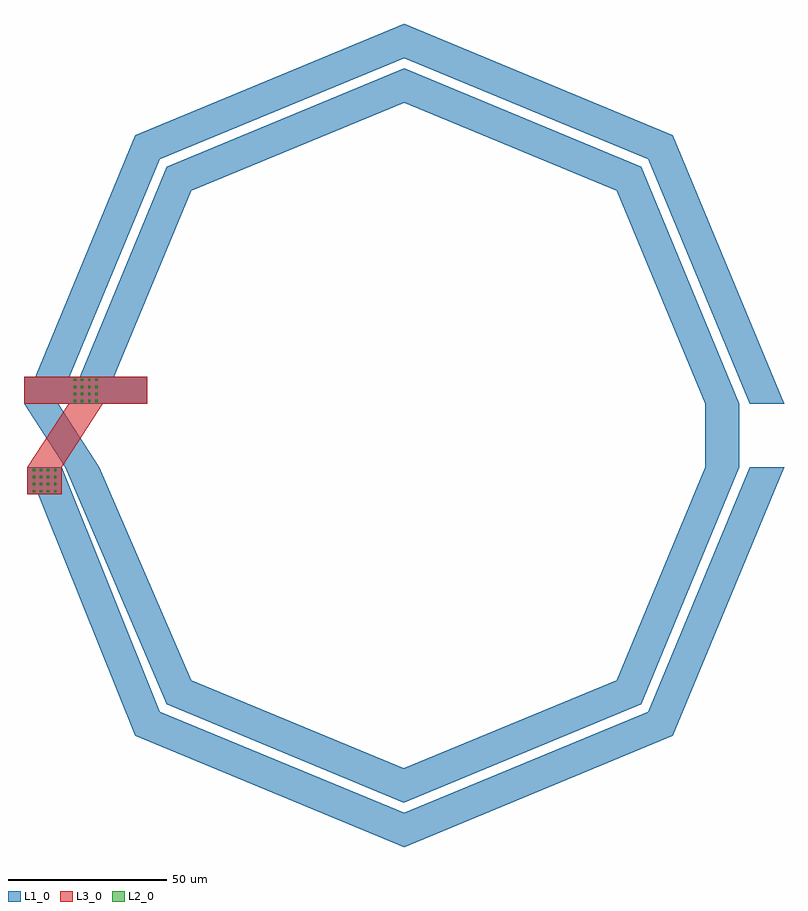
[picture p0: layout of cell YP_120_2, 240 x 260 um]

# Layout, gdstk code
import gdstk
lib = gdstk.Library(unit=1e-6, precision=1e-09)
def R(c, l, rs):  # rectangles x0, y0, x1, y1
    for r in rs: c.add(gdstk.rectangle(r[:2], r[2:], *l))
def A(c, l, x, y, w, h, nx, ny, dx, dy):  # array of equal rectangles
    R(c, l, [(x+i*dx, y+j*dy, x+i*dx+w, y+j*dy+h) for i in range(nx) for j in range(ny)])
def P(c, l, *ps):  # polygons
    for p in ps: c.add(gdstk.Polygon(p, *l))
L1_0 = (1, 0)
L2_0 = (2, 0)
L3_0 = (3, 0)

yp_120_2 = lib.new_cell('YP_120_2')
R(yp_120_2, L1_0, [(81.07,181.5,91.89,190), (295.1,189.99,305.92,209.99), (80,210,118.96,218.5)])
P(yp_120_2, L1_0, [(309.17,210),(277.19,287.19),(284.85,294.85),(320,210)],
  [(277.19,287.19),(200,319.17),(200,330),(284.85,294.85)],
  [(122.8,287.19),(115.14,294.85),(200,330),(200,319.17)],
  [(80,210),(115.14,294.85),(122.8,287.19),(90.82,210)],
  [(93,190),(80,210),(90.82,210),(103.82,190)],
  [(125.09,115.09),(93,190),(103.82,190),(132.75,122.75)],
  [(199.99,84.07),(125.09,115.09),(132.75,122.75),(199.99,94.89)],
  [(199.99,84.07),(199.99,94.89),(267.24,122.75),(274.9,115.09)],
  [(274.9,115.09),(267.24,122.75),(295.1,189.99),(305.92,189.99)],
  [(295.1,209.99),(267.24,277.24),(274.9,284.9),(305.92,209.99)],
  [(267.24,277.24),(200,305.1),(200,315.92),(274.9,284.9)],
  [(132.75,277.24),(125.09,284.9),(200,315.92),(200,305.1)],
  [(94.07,210),(125.09,284.9),(132.75,277.24),(104.89,210)],
  [(115.14,105.14),(81.07,190),(91.89,190),(122.8,112.8)],
  [(200,70),(115.14,105.14),(122.8,112.8),(200,80.82)],
  [(200,70),(200,80.82),(277.19,112.8),(284.85,105.14)],
  [(284.85,105.14),(277.19,112.8),(309.17,190),(320,190)])
A(yp_120_2, L2_0, 82.73, 182, 0.75, 0.75, 4, 4, 2.25, 2.25)
A(yp_120_2, L2_0, 95.73, 210.5, 0.75, 0.75, 4, 4, 2.25, 2.25)
R(yp_120_2, L3_0, [(81.07,181.5,91.89,190), (80,210,118.96,218.5)])
P(yp_120_2, L3_0, [(81.07,190),(94.07,210),(104.89,210),(91.89,190)])

lib.write_gds('YP_120_2.gds')
